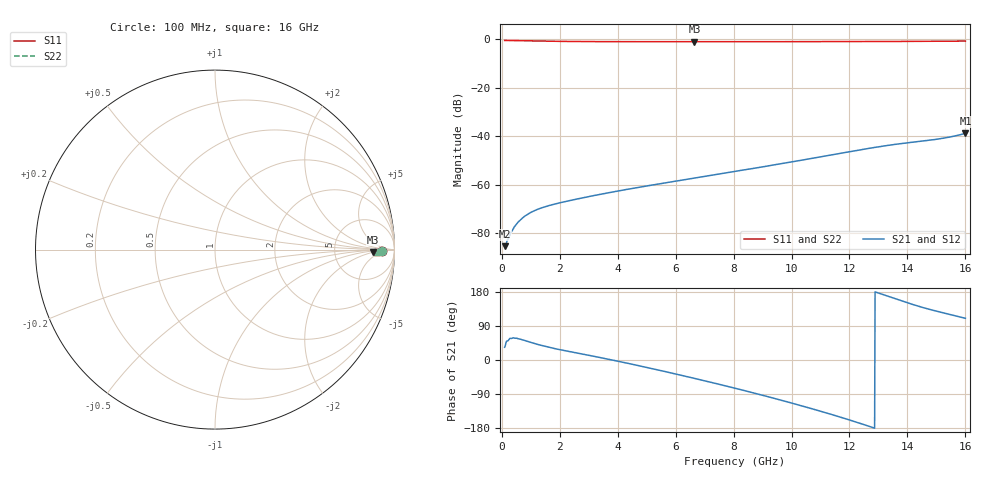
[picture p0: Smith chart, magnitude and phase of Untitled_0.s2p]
! TOUCHSTONE file generated by CST MICROWAVE STUDIO
! Date and time: Mon Mar 13 18:18:00 2023
! Project name: Untitled_0.cst
! Header version: 2018
! Port assignment regex: !\s*Touchstone port\s*([0-9]+)\s*=\s*(CST MWS port|CST DS port)\s*([0-9]+|Zmin|Zmax)\s*\(\"(.*)\"\)(\s*mode\s*([0-9]+))?.*
! Touchstone port assignment:
! Touchstone port 1 = CST MWS port 1 ("")
! Touchstone port 2 = CST MWS port 2 ("")
# GHz S MA R 50
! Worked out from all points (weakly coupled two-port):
!   1001 points, 100 MHz to 16 GHz, reference 50 ohm
!   highest |S21| = -38.89 dB at 16 GHz (marker M1); lowest = -85.3 dB at 115.9 MHz (marker M2)
!   lowest |S11| = -1.1 dB at 6.651 GHz (marker M3), VSWR 15.35, Z = 757 - j88.6 ohm
!   |S11| at or under -10 dB: nowhere
!   |S22| runs from -1.1 to -0.6 dB; largest |S21 - S12| = 1.7e-08
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0.1  0.9311 -0.4  5.562e-05 33.6  5.563e-05 33.6  0.9311 -0.4
0.1159  0.9314 -0.4  5.407e-05 35.8  5.407e-05 35.8  0.9314 -0.4
0.2431  0.9295 -0.7  8.052e-05 53.4  8.052e-05 53.4  0.9295 -0.7
0.3067  0.9282 -0.9  0.0001001 57.1  0.0001001 57.1  0.9282 -0.9
0.3703  0.9273 -1.0  0.0001151 57.8  0.0001151 57.8  0.9273 -1.0
0.5134  0.9241 -1.2  0.0001547 57.5  0.0001547 57.5  0.9241 -1.2
0.6724  0.92 -1.5  0.000196 54.2  0.000196 54.2  0.92 -1.5
0.8632  0.9151 -1.7  0.0002389 49.9  0.0002389 49.9  0.9151 -1.7
1.1017  0.909 -1.8  0.0002863 44.3  0.0002863 44.3  0.909 -1.8
1.3402  0.9035 -1.9  0.0003269 39.1  0.0003269 39.1  0.9035 -1.9
1.6741  0.8972 -1.9  0.0003764 32.7  0.0003764 32.7  0.8972 -1.9
2.7553  0.8853 -1.6  0.0005293 16.0  0.0005293 16.0  0.8853 -1.6
3.9637  0.8802 -1.3  0.0007305 -2.5  0.0007305 -2.5  0.8802 -1.3
5.4106  0.8781 -1.0  0.001032 -26.6  0.001032 -26.6  0.8781 -1.0
6.6508  0.8777 -0.9  0.001365 -48.5  0.001365 -48.5  0.8777 -0.9
8.05  0.8781 -0.8  0.001869 -74.5  0.001869 -74.5  0.8781 -0.8
10.7053  0.8811 -0.6  0.003475 -128.6  0.003475 -128.6  0.8811 -0.6
12.502  0.8848 -0.6  0.005369 -170.6  0.005369 -170.6  0.8848 -0.6
13.3606  0.8877 -0.5  0.006476 167.3  0.006476 167.3  0.8877 -0.5
15.0937  0.8985 -0.6  0.008757 127.1  0.008757 127.1  0.8985 -0.6
15.5071  0.9015 -0.7  0.009682 119.4  0.009682 119.4  0.9015 -0.7
16  0.9048 -1.0  0.01137 110.1  0.01137 110.1  0.9048 -1.0
